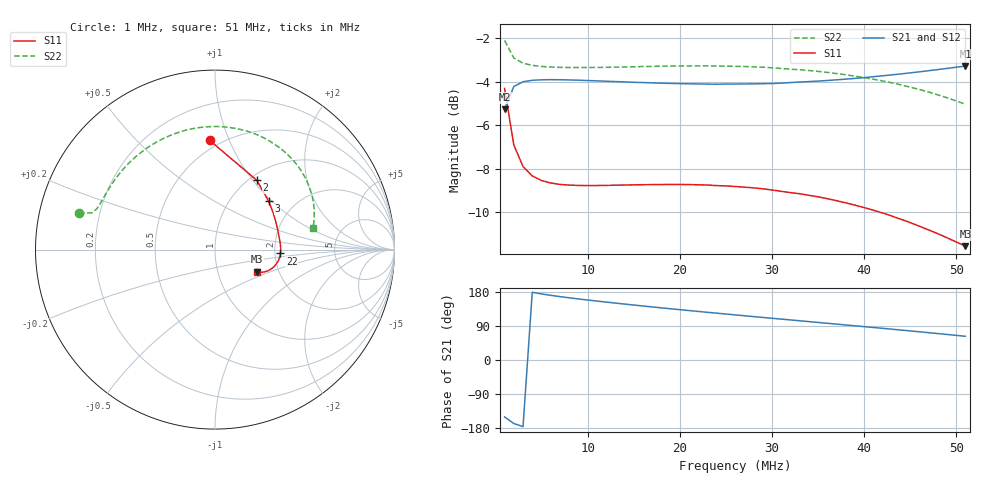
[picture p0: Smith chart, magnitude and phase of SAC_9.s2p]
# MHz S RI R 50
! S-Parameters data
! Freq  reS11  imS11  reS21  imS21  reS12  imS12  reS22  imS22
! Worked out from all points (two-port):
!   51 points, 1 MHz to 51 MHz, reference 50 ohm
!   highest |S21| = -3.28 dB at 51 MHz (marker M1); lowest = -5.3 dB at 1 MHz (marker M2)
!   |S21| within 3 dB of the highest: start of sweep to end of sweep
!   lowest |S11| = -11.6 dB at 51 MHz (marker M3), VSWR 1.72, Z = 77.1 - j20.5 ohm
!   |S11| at or under -10 dB: 41.68 MHz to end of sweep
!   |S22| runs from -5.0 to -2.1 dB; largest |S21 - S12| = 0.00086
!   S11 on the Smith chart (normalised r, x): 1 MHz: 0.44, +0.85; 2 MHz: 1.08, +1.05; 3 MHz: 1.49, +0.96; 22 MHz: 2.15, -0.11; 51 MHz: 1.54, -0.41
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1  -0.0296 0.6082  -0.4736 -0.2701  -0.4738 -0.2699  -0.7576 0.205
2  0.2333 0.3859  -0.6007 -0.1319  -0.6007 -0.1313  -0.6852 0.2048
3  0.2993 0.2691  -0.629 -0.0457  -0.6287 -0.0453  -0.6571 0.2286
4  0.3245 0.2033  -0.6354 0.0146  -0.6352 0.0151  -0.6355 0.2632
5  0.3369 0.1617  -0.6341 0.0626  -0.634 0.063  -0.6137 0.3016
6  0.3442 0.1327  -0.6293 0.1036  -0.629 0.1041  -0.5901 0.3415
8  0.3524 0.0942  -0.6125 0.174  -0.6123 0.1744  -0.5358 0.4189
10  0.3574 0.0687  -0.5899 0.2344  -0.5896 0.2352  -0.4725 0.4893
12  0.3609 0.0492  -0.5628 0.2884  -0.5624 0.2891  -0.4014 0.5497
14  0.3634 0.0328  -0.5323 0.3371  -0.5319 0.3377  -0.3253 0.5994
16  0.3651 0.0183  -0.4986 0.382  -0.4985 0.3816  -0.2449 0.6382
18  0.3659 0.00464  -0.4626 0.4216  -0.4625 0.4214  -0.1638 0.665
20  0.366 -0.00854  -0.4249 0.4576  -0.4247 0.4572  -0.0825 0.6806
22  0.3648 -0.0212  -0.3853 0.49  -0.3853 0.4894  -0.0033 0.686
24  0.3623 -0.0337  -0.3447 0.5182  -0.3446 0.5179  0.0735 0.6816
26  0.3593 -0.0454  -0.3026 0.5446  -0.3027 0.5442  0.1454 0.6688
30  0.3488 -0.0689  -0.2151 0.5866  -0.2152 0.5863  0.2765 0.6204
35  0.3298 -0.0939  -0.1003 0.6248  -0.1006 0.6245  0.406 0.5283
39  0.309 -0.1103  -0.0033 0.6419  -0.0036 0.6416  0.4819 0.4359
43  0.2848 -0.1215  0.0985 0.6466  0.0982 0.6462  0.5309 0.3339
47  0.2586 -0.1263  0.2052 0.6364  0.2047 0.636  0.5523 0.2275
51  0.2332 -0.1238  0.3156 0.6084  0.315 0.6081  0.5462 0.1222
